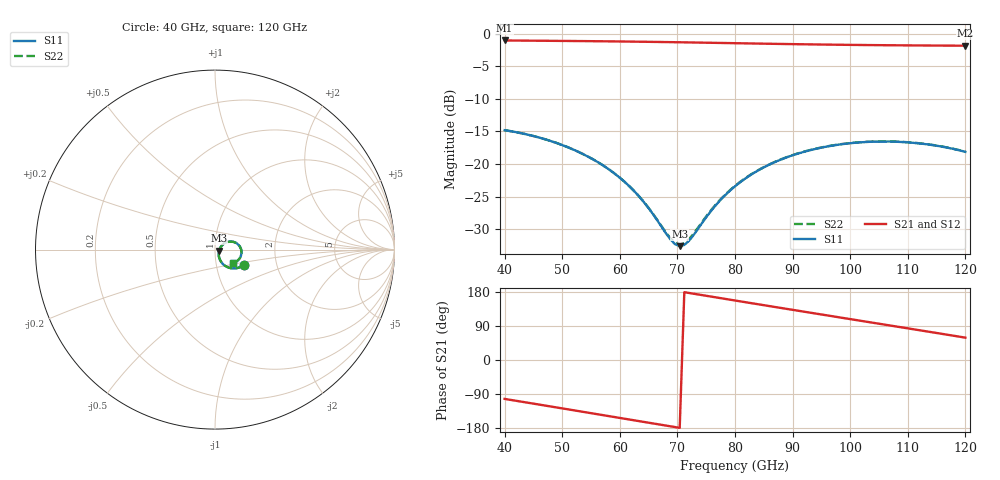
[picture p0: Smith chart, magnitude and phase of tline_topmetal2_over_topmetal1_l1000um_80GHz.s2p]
#  GHZ S DB R 50
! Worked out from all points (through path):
!   101 points, 40 GHz to 120 GHz, reference 50 ohm
!   highest |S21| = -1.04 dB at 40 GHz (marker M1); lowest = -1.9 dB at 120 GHz (marker M2)
!   group delay of S21, straight-line fit = 6.89 ps
!   lowest |S11| = -32.6 dB at 70.4 GHz (marker M3), VSWR 1.05, Z = 52.3 - j0.675 ohm
!   |S11| at or under -10 dB: start of sweep to end of sweep
!   |S22| runs from -32.4 to -14.8 dB; largest |S21 - S12| = 1.4e-13
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40  -14.81 -27.8  -1.04 -102.7  -1.04 -102.7  -14.81 -27.9
46.4  -16.05 -41.1  -1.09 -118.7  -1.09 -118.7  -16.04 -41.1
53.6  -18.47 -54.7  -1.14 -136.7  -1.14 -136.7  -18.47 -54.6
57.6  -20.52 -60.8  -1.18 -146.8  -1.18 -146.8  -20.52 -60.6
60.8  -22.72 -63.9  -1.21 -154.9  -1.21 -154.9  -22.71 -63.6
64  -25.66 -63.2  -1.24 -162.9  -1.24 -162.9  -25.63 -62.7
67.2  -29.58 -52.3  -1.28 -171.0  -1.28 -171.0  -29.49 -51.6
68.8  -31.59 -38.1  -1.30 -175.0  -1.30 -175.0  -31.42 -37.3
69.6  -32.31 -27.8  -1.31 -177.0  -1.31 -177.0  -32.09 -27.2
70.4  -32.61 -16.0  -1.32 -179.0  -1.32 -179.0  -32.37 -15.8
71.2  -32.42 -4.1  -1.34 179.0  -1.34 179.0  -32.17 -4.3
72  -31.80 6.4  -1.35 177.0  -1.35 177.0  -31.57 5.9
76.8  -26.19 32.7  -1.42 165.0  -1.42 165.0  -26.09 31.8
80  -23.43 33.7  -1.46 157.0  -1.46 157.0  -23.37 33.0
83.2  -21.42 31.0  -1.51 149.1  -1.51 149.1  -21.37 30.3
86.4  -19.92 26.6  -1.56 141.2  -1.56 141.2  -19.88 26.0
93.6  -17.77 14.2  -1.65 123.6  -1.65 123.6  -17.74 13.6
97.6  -17.09 6.6  -1.70 113.8  -1.70 113.8  -17.06 6.0
100.8  -16.75 0.4  -1.73 106.0  -1.73 106.0  -16.72 -0.2
107.2  -16.57 -12.1  -1.78 90.4  -1.78 90.4  -16.55 -12.7
113.6  -17.02 -24.5  -1.82 74.7  -1.82 74.7  -16.99 -25.0
120  -18.14 -36.2  -1.85 59.0  -1.85 59.0  -18.11 -36.7
